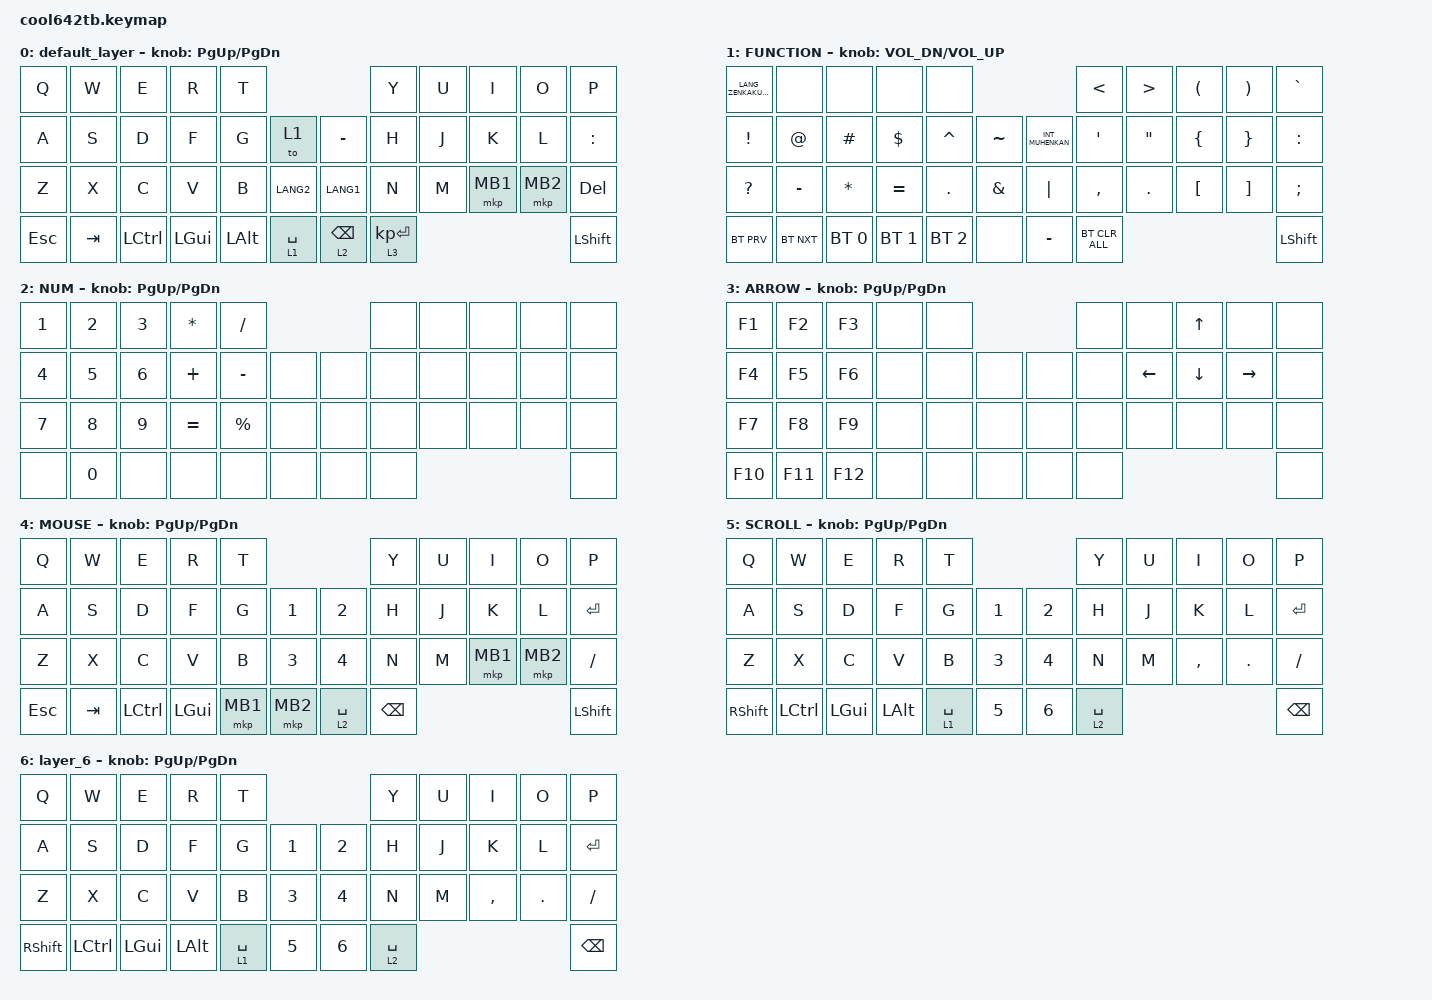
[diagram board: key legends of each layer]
#include <behaviors.dtsi>
#include <dt-bindings/zmk/bt.h>
#include <dt-bindings/zmk/keys.h>
#include <dt-bindings/zmk/pointing.h>

#define MOUSE 4
#define SCROLL 5
#define NUM 6

&mt {
    flavor = "balanced";
    quick-tap-ms = <0>;
};

/ {
    combos {
        compatible = "zmk,combos";

        comb1 {
            bindings = <&kp TAB>;
            key-positions = <11 10>;
        };

        comb2 {
            bindings = <&kp LS(ESCAPE)>;
            key-positions = <0 1>;
        };

        comb3 {
            bindings = <&kp CAPSLOCK>;
            key-positions = <22 23>;
        };

        comb4 {
            bindings = <&kp BACKSPACE>;
            key-positions = <9 8>;
        };

        comb5 {
            bindings = <&bt BT_CLR_ALL>;
            key-positions = <9 8>;
            timeout-ms = <0>;
            layers = <2>;
        };
    };

    macros {
        to_layer_0: to_layer_0 {
            compatible = "zmk,behavior-macro-one-param";
            #binding-cells = <1>;
            bindings = <&to 0 &macro_param_1to1 &kp MACRO_PLACEHOLDER>;
            label = "TO_LAYER_0";
        };
    };

    behaviors {
        lt_to_layer_0: lt_to_layer_0 {
            compatible = "zmk,behavior-hold-tap";
            label = "LAYER_TAP_TO_0";
            bindings = <&mo>, <&to_layer_0>;

            #binding-cells = <2>;
            tapping-term-ms = <200>;
        };
    };

    keymap {
        compatible = "zmk,keymap";

        default_layer {
            bindings = <
&kp Q    &kp W    &kp E             &kp R         &kp T                                       &kp Y           &kp U  &kp I     &kp O     &kp P
&kp A    &kp S    &kp D             &kp F         &kp G         &to 1        &kp MINUS        &kp H           &kp J  &kp K     &kp L     &kp COLON
&kp Z    &kp X    &kp C             &kp V         &kp B         &kp LANG2    &kp LANG1        &kp N           &kp M  &mkp MB1  &mkp MB2  &kp DEL
&kp ESC  &kp TAB  &kp LEFT_CONTROL  &kp LEFT_GUI  &kp LEFT_ALT  &lt 1 SPACE  &lt 2 BACKSPACE  &lt 3 KP_ENTER                             &kp LEFT_SHIFT
            >;

            sensor-bindings = <&inc_dec_kp PG_UP PAGE_DOWN>;
        };

        FUNCTION {
            bindings = <
&kp LANG_ZENKAKUHANKAKU  &none        &none         &none         &none                                          &kp LESS_THAN     &kp GREATER_THAN   &kp LEFT_PARENTHESIS  &kp RIGHT_PARENTHESIS  &kp GRAVE
&kp EXCLAMATION          &kp AT_SIGN  &kp HASH      &kp DOLLAR    &kp CARET     &kp TILDE      &kp INT_MUHENKAN  &kp SINGLE_QUOTE  &kp DOUBLE_QUOTES  &kp LEFT_BRACE        &kp RIGHT_BRACE        &kp COLON
&kp QUESTION             &kp MINUS    &kp ASTERISK  &kp EQUAL     &kp PERIOD    &kp AMPERSAND  &kp PIPE          &kp COMMA         &kp PERIOD         &kp LEFT_BRACKET      &kp RIGHT_BRACKET      &kp SEMICOLON
&bt BT_PRV               &bt BT_NXT   &bt BT_SEL 0  &bt BT_SEL 1  &bt BT_SEL 2  &none          &kp MINUS         &bt BT_CLR_ALL                                                                    &kp LEFT_SHIFT
            >;

            sensor-bindings = <&inc_dec_kp C_VOL_DN C_VOL_UP>;
        };

        NUM {
            bindings = <
&kp NUMBER_1  &kp NUMBER_2  &kp NUMBER_3  &kp ASTERISK  &kp SLASH                  &none  &none  &none  &none  &none
&kp NUMBER_4  &kp NUMBER_5  &kp NUMBER_6  &kp PLUS      &kp MINUS    &none  &none  &none  &none  &none  &none  &none
&kp NUMBER_7  &kp NUMBER_8  &kp NUMBER_9  &kp EQUAL     &kp PERCENT  &none  &none  &none  &none  &none  &none  &none
&none         &kp NUMBER_0  &none         &none         &none        &none  &none  &none                       &none
            >;

            sensor-bindings = <&inc_dec_kp PG_UP PAGE_DOWN>;
        };

        ARROW {
            bindings = <
&kp F1   &kp F2   &kp F3   &none  &none                &none  &none           &kp UP_ARROW    &none            &none
&kp F4   &kp F5   &kp F6   &none  &none  &none  &none  &none  &kp LEFT_ARROW  &kp DOWN_ARROW  &kp RIGHT_ARROW  &none
&kp F7   &kp F8   &kp F9   &none  &none  &none  &none  &none  &none           &none           &none            &none
&kp F10  &kp F11  &kp F12  &none  &none  &none  &none  &none                                                   &none
            >;

            sensor-bindings = <&inc_dec_kp PG_UP PAGE_DOWN>;
        };

        MOUSE {
            bindings = <
&kp Q       &kp W    &kp E             &kp R         &kp T                            &kp Y          &kp U  &kp I     &kp O     &kp P
&kp A       &kp S    &kp D             &kp F         &kp G     &kp N1    &kp N2       &kp H          &kp J  &kp K     &kp L     &kp ENTER
&kp Z       &kp X    &kp C             &kp V         &kp B     &kp N3    &kp N4       &kp N          &kp M  &mkp MB1  &mkp MB2  &kp SLASH
&kp ESCAPE  &kp TAB  &kp LEFT_CONTROL  &kp LEFT_GUI  &mkp MB1  &mkp MB2  &lt 2 SPACE  &kp BACKSPACE                             &kp LEFT_SHIFT
            >;

            sensor-bindings = <&inc_dec_kp PG_UP PAGE_DOWN>;
        };

        SCROLL {
            bindings = <
&kp Q       &kp W      &kp E     &kp R     &kp T                        &kp Y        &kp U  &kp I      &kp O       &kp P
&kp A       &kp S      &kp D     &kp F     &kp G        &kp N1  &kp N2  &kp H        &kp J  &kp K      &kp L       &kp ENTER
&kp Z       &kp X      &kp C     &kp V     &kp B        &kp N3  &kp N4  &kp N        &kp M  &kp COMMA  &kp PERIOD  &kp SLASH
&kp RSHIFT  &kp LCTRL  &kp LGUI  &kp LALT  &lt 1 SPACE  &kp N5  &kp N6  &lt 2 SPACE                                &kp BSPC
            >;

            sensor-bindings = <&inc_dec_kp PG_UP PAGE_DOWN>;
        };

        layer_6 {
            bindings = <
&kp Q       &kp W      &kp E     &kp R     &kp T                        &kp Y        &kp U  &kp I      &kp O       &kp P
&kp A       &kp S      &kp D     &kp F     &kp G        &kp N1  &kp N2  &kp H        &kp J  &kp K      &kp L       &kp ENTER
&kp Z       &kp X      &kp C     &kp V     &kp B        &kp N3  &kp N4  &kp N        &kp M  &kp COMMA  &kp PERIOD  &kp SLASH
&kp RSHIFT  &kp LCTRL  &kp LGUI  &kp LALT  &lt 1 SPACE  &kp N5  &kp N6  &lt 2 SPACE                                &kp BSPC
            >;

            sensor-bindings = <&inc_dec_kp PG_UP PAGE_DOWN>;
        };
    };
};
